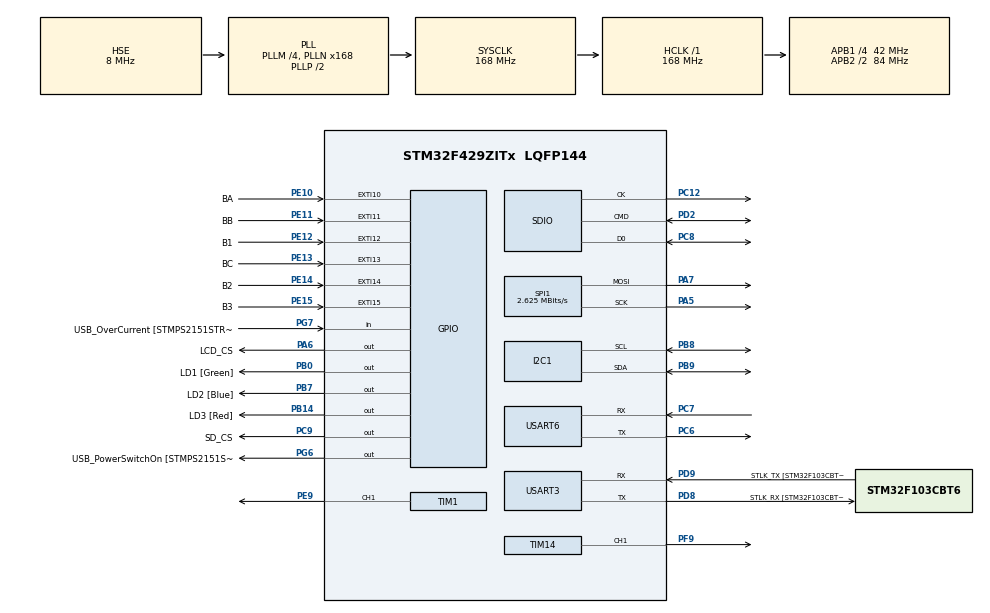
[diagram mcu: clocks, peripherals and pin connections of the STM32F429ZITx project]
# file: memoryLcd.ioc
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FATFS._MAX_SS=4096
Mcu.Family=STM32F4
Mcu.Name=STM32F429ZITx
Mcu.Package=LQFP144
NVIC.EXTI15_10_IRQn=true\:0\:0\:false\:false\:true\:true\:true\:true
NVIC.PriorityGroup=NVIC_PRIORITYGROUP_4
NVIC.TIM1_TRG_COM_TIM11_IRQn=true\:0\:0\:false\:false\:true\:true\:true\:true
NVIC.TIM1_UP_TIM10_IRQn=true\:0\:0\:false\:false\:true\:true\:true\:true
NVIC.TIM8_UP_TIM13_IRQn=true\:0\:0\:false\:false\:true\:true\:true\:true
PA13.GPIO_Label=TMS
PA13.Mode=Trace_Asynchronous_SW
PA13.Signal=SYS_JTMS-SWDIO
PA14.GPIO_Label=TCK
PA14.Mode=Trace_Asynchronous_SW
PA14.Signal=SYS_JTCK-SWCLK
PA5.Mode=TX_Only_Simplex_Unidirect_Master
PA5.Signal=SPI1_SCK
PA6.GPIO_Label=LCD_CS
PA6.Signal=GPIO_Output
PA7.Mode=TX_Only_Simplex_Unidirect_Master
PA7.Signal=SPI1_MOSI
PB0.GPIO_Label=LD1 [Green]
PB0.Signal=GPIO_Output
PB14.GPIO_Label=LD3 [Red]
PB14.Signal=GPIO_Output
PB3.Mode=Trace_Asynchronous_SW
PB3.Signal=SYS_JTDO-SWO
PB7.GPIO_Label=LD2 [Blue]
PB7.Signal=GPIO_Output
PB8.Mode=I2C
PB8.Signal=I2C1_SCL
PB9.Mode=I2C
PB9.Signal=I2C1_SDA
PC12.Mode=SD_1_bit
PC12.Signal=SDIO_CK
PC14/OSC32_IN.Mode=LSE-External-Oscillator
PC14/OSC32_IN.Signal=RCC_OSC32_IN
PC15/OSC32_OUT.Mode=LSE-External-Oscillator
PC15/OSC32_OUT.Signal=RCC_OSC32_OUT
PC6.Mode=Asynchronous
PC6.Signal=USART6_TX
PC7.Mode=Asynchronous
PC7.Signal=USART6_RX
PC8.Mode=SD_1_bit
PC8.Signal=SDIO_D0
PC9.GPIO_Label=SD_CS
PC9.Signal=GPIO_Output
PD2.Mode=SD_1_bit
PD2.Signal=SDIO_CMD
PD8.GPIO_Label=STLK_RX [STM32F103CBT6_PA3]
PD8.Mode=Asynchronous
PD8.Signal=USART3_TX
PD9.GPIO_Label=STLK_TX [STM32F103CBT6_PA2]
PD9.Mode=Asynchronous
PD9.Signal=USART3_RX
PE10.GPIO_Label=BA
PE10.GPIO_ModeDefaultEXTI=GPIO_MODE_IT_RISING_FALLING
PE10.Signal=GPXTI10
PE11.GPIO_Label=BB
PE11.GPIO_ModeDefaultEXTI=GPIO_MODE_IT_RISING_FALLING
PE11.Signal=GPXTI11
PE12.GPIO_Label=B1
PE12.GPIO_ModeDefaultEXTI=GPIO_MODE_IT_RISING_FALLING
PE12.Signal=GPXTI12
PE13.GPIO_Label=BC
PE13.GPIO_ModeDefaultEXTI=GPIO_MODE_IT_RISING_FALLING
PE13.Signal=GPXTI13
PE14.GPIO_Label=B2
PE14.GPIO_ModeDefaultEXTI=GPIO_MODE_IT_RISING_FALLING
PE14.Signal=GPXTI14
PE15.GPIO_Label=B3
PE15.GPIO_ModeDefaultEXTI=GPIO_MODE_IT_RISING_FALLING
PE15.Signal=GPXTI15
PE9.Signal=S_TIM1_CH1
PF9.Signal=S_TIM14_CH1
PG6.GPIO_Label=USB_PowerSwitchOn [STMPS2151STR_EN]
PG6.Signal=GPIO_Output
PG7.GPIO_Label=USB_OverCurrent [STMPS2151STR_FAULT]
PG7.Signal=GPIO_Input
PH0/OSC_IN.GPIO_Label=MCO [STM32F103CBT6_PA8]
PH0/OSC_IN.Mode=HSE-External-Clock-Source
PH0/OSC_IN.Signal=RCC_OSC_IN
PH1/OSC_OUT.Mode=HSE-External-Clock-Source
PH1/OSC_OUT.Signal=RCC_OSC_OUT
ProjectManager.HeapSize=0x200
ProjectManager.StackSize=0x400
ProjectManager.TargetToolchain=STM32CubeIDE
RCC.48MHZClocksFreq_Value=48000000
RCC.AHBFreq_Value=168000000
RCC.APB1CLKDivider=RCC_HCLK_DIV4
RCC.APB1Freq_Value=42000000
RCC.APB1TimFreq_Value=84000000
RCC.APB2CLKDivider=RCC_HCLK_DIV2
RCC.APB2Freq_Value=84000000
RCC.APB2TimFreq_Value=168000000
RCC.CortexFreq_Value=168000000
RCC.HCLKFreq_Value=168000000
RCC.HSE_VALUE=8000000
RCC.HSI_VALUE=16000000
RCC.PLLM=4
RCC.PLLMUL=RCC_PLL_MUL9
RCC.PLLN=168
RCC.PLLQ=7
RCC.PLLSourceVirtual=RCC_PLLSOURCE_HSE
RCC.PRESCALERUSB=RCC_USBCLKSOURCE_PLL_DIV1_5
RCC.RCC_RTC_Clock_Source=RCC_RTCCLKSOURCE_LSE
RCC.RCC_RTC_Clock_SourceVirtual=RCC_RTCCLKSOURCE_LSE
RCC.RCC_RTC_Clock_Source_FROM_HSE=RCC_RTCCLKSOURCE_HSE_DIV24
RCC.SYSCLKFreq_VALUE=168000000
RCC.SYSCLKSource=RCC_SYSCLKSOURCE_PLLCLK
RCC.SYSCLKSourceVirtual=RCC_SYSCLKSOURCE_PLLCLK
RCC.USBFreq_Value=48000000
RCC.VCOOutputFreq_Value=336000000
RTC.Date=3
RTC.Format=RTC_FORMAT_BIN
RTC.Hours=12
RTC.Minutes=34
RTC.Month=RTC_MONTH_AUGUST
RTC.Seconds=56
RTC.Year=22
SDIO.ClockDiv=4
SH.S_TIM14_CH1.0=TIM14_CH1,PWM Generation1 CH1
SH.S_TIM1_CH1.0=TIM1_CH1,PWM Generation1 CH1
SPI1.BaudRatePrescaler=SPI_BAUDRATEPRESCALER_32
SPI1.CLKPhase=SPI_PHASE_1EDGE
SPI1.CLKPolarity=SPI_POLARITY_LOW
SPI1.CalculateBaudRate=2.625 MBits/s
SPI1.Direction=SPI_DIRECTION_2LINES
SPI1.FirstBit=SPI_FIRSTBIT_MSB
SPI1.Mode=SPI_MODE_MASTER
SPI1.VirtualType=VM_MASTER
TIM1.AutoReloadPreload=TIM_AUTORELOAD_PRELOAD_ENABLE
TIM1.Channel-PWM\ Generation1\ CH1=TIM_CHANNEL_1
TIM1.ClockDivision=TIM_CLOCKDIVISION_DIV1
TIM1.OCMode_PWM-PWM\ Generation1\ CH1=TIM_OCMODE_PWM1
TIM1.Period=65534
TIM1.Prescaler=2047
TIM1.Pulse-PWM\ Generation1\ CH1=2
TIM1.RepetitionCounter=0
TIM1.TIM_MasterSlaveMode=TIM_MASTERSLAVEMODE_DISABLE
TIM10.AutoReloadPreload=TIM_AUTORELOAD_PRELOAD_ENABLE
TIM10.Period=9999
TIM10.Prescaler=16799
TIM11.AutoReloadPreload=TIM_AUTORELOAD_PRELOAD_ENABLE
TIM11.Period=99
TIM11.Prescaler=16799
TIM13.AutoReloadPreload=TIM_AUTORELOAD_PRELOAD_ENABLE
TIM13.Period=9999
TIM13.Prescaler=8399
TIM14.Channel=TIM_CHANNEL_1
TIM14.Period=99
TIM14.Prescaler=8399
USART3.VirtualMode=VM_ASYNC
USART6.VirtualMode=VM_ASYNC
VP_FATFS_VS_SDIO.Mode=SDIO
VP_RTC_VS_RTC_Activate.Mode=RTC_Enabled
VP_RTC_VS_RTC_Calendar.Mode=RTC_Calendar
VP_TIM10_VS_ClockSourceINT.Mode=Enable_Timer
VP_TIM11_VS_ClockSourceINT.Mode=Enable_Timer
VP_TIM13_VS_ClockSourceINT.Mode=Enable_Timer
VP_TIM14_VS_ClockSourceINT.Mode=Enable_Timer
VP_TIM1_VS_ClockSourceINT.Mode=Internal
board=NUCLEO-F429ZI

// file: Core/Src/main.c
/* USER CODE BEGIN Header */
/**
  ******************************************************************************
  * @file           : main.c
  * @brief          : Main program body
  ******************************************************************************
  * @attention
  *
  * Copyright (c) 2022 STMicroelectronics.
  * All rights reserved.
  *
  * This software is licensed under terms that can be found in the LICENSE file
  * in the root directory of this software component.
  * If no LICENSE file comes with this software, it is provided AS-IS.
  *
  ******************************************************************************
  */
/* USER CODE END Header */
#include "main.h"
#include "fatfs.h"
#include "i2c.h"
#include "rtc.h"
#include "sdio.h"
#include "spi.h"
#include "tim.h"
#include "usart.h"
#include "gpio.h"

/* USER CODE BEGIN Includes */
#include <stdio.h>
#include "lcd.h"
#include "bmp180.h"
#include "buttons.h"
#include "btns.h"
#include "gui.h"
#include "fonts/fonts.h"
#include "fatfs.h"
#include "File_Handling.h"
#include "countdownTimer.h"

#include "utils/timerUtils.h"

/* USER CODE END Includes */

/* USER CODE BEGIN PV */
	int GLOBAL_timezone = 1;		// [h] east+ west-
	location_t location;

	RTC_TimeTypeDef RtcTime;
	RTC_DateTypeDef RtcDate;
//	ring buffers for sensor data
//	RingBuffer_t baroRing;
	cbuf_t baroRing;
	RingBuffer_t tempRing;
	gpsDevice_t gpsDev;
//	char dmaBuffer[GPS_BUFFER_SIZE];
	uint8_t tim13_prescaler = 3; // 1Hz/(x+1) = 1Hz/4 = 4s period
	uint8_t tim13_counter = 0; // 1Hz/4 = 4s period
	// flag to execute BMP180 update in the main program loop
	uint8_t updateBmpData_flag = 1;
	countdown_t countDown1 = {5, 5, 0};
	extern uint8_t animationFrameNum;

/* USER CODE END PV */

void SystemClock_Config(void);

/* USER CODE BEGIN 0 */
int __io_putchar(int ch){
	ITM_SendChar(ch);
	return(ch);
}

uint8_t timeoutState = 0;
uint16_t timeoutValue;
uint16_t timeoutSetpoint;
void (*timeoutClbkPtr)(void);
void setTimeout(uint16_t ms,  void (*callback)(void)){
	// set timeout setpoint
	timeoutSetpoint = ms;
	// reset timeout value
	timeoutValue = 0;
	// set callback function
	timeoutClbkPtr = callback;
	// flag timeout running
	timeoutState = 1;
}

uint8_t alertFlag = 0;
void showAlert(void){
	lcdRect2(50, 350, 50, 190, 3, 0, 1);
	lcdPutStr(90, 90, "Alert!", zekton24font);
}
void hideAlert(void){
	alertFlag = 0;
}

/* USER CODE END 0 */

int main(void)
{

  /* MCU Configuration--------------------------------------------------------*/

  /* Reset of all peripherals, Initializes the Flash interface and the Systick. */
  HAL_Init();

  /* Configure the system clock */
  SystemClock_Config();

  /* Initialize all configured peripherals */
  MX_GPIO_Init();
  MX_USART3_UART_Init();
  MX_SPI1_Init();
  MX_TIM1_Init();
  MX_TIM10_Init();
  MX_I2C1_Init();
  MX_TIM11_Init();
  MX_RTC_Init();
  MX_TIM13_Init();
  MX_SDIO_SD_Init();
  MX_FATFS_Init();
  MX_USART6_UART_Init();
  MX_TIM14_Init();
  /* USER CODE BEGIN 2 */
  //  Initialize VCOMIN pulse on CH1 (PIN PE9) for Sharp Memory LCD
  HAL_TIM_Base_Init(&htim1);
  HAL_TIM_Base_Start_IT(&htim1);
  HAL_TIM_PWM_Start(&htim1, TIM_CHANNEL_1);
  // Initialize Timer 10 (1Hz) - for stopwatch
  stwInit(&htim10);
  // Vibration motor PWM
  HAL_TIM_PWM_Start(&htim14, TIM_CHANNEL_1);

  // TIMER 11 - 20Hz button scanner
  HAL_TIM_Base_Start_IT(&htim11);
  initButtons(btnsPtrs);

  // TIMER 13 - 1Hz sensors logger
  HAL_TIM_Base_Start_IT(&htim13);
  gpsDev = initGps(&huart6);
  // bmp180module defined inside of c file
  bmp_init(&bmp180module);
//  init_ring_buffer(&baroRing, 399);
  init_ring_buffer(&tempRing, 399);
  cbuf_init(&baroRing, sizeof(uint16_t), 399);

	HAL_GPIO_WritePin(SD_CS_GPIO_Port, SD_CS_Pin, GPIO_PIN_SET);
  	Mount_SD("/");
  	Create_File("FILE1.TXT");
  	Update_File("FILE1.TXT", "Hello world, SD cart write \n");
  	Create_File("FILE4.TXT");
  	char fileText[50];
  	Read_File("config.txt", &fileText);

  	// log state after reset
  	HAL_RTC_GetTime(&hrtc, &RtcTime, RTC_FORMAT_BIN);
	HAL_RTC_GetDate(&hrtc, &RtcDate, RTC_FORMAT_BIN);
	char tmpl[50] = {0};
	sprintf(&tmpl, "%02d:%02d:%02d --- Initialized ---\n", RtcTime.Hours, RtcTime.Minutes, RtcTime.Seconds);
	SD_logger(tmpl);
//  	Unmount_SD("/");
  /* USER CODE END 2 */

  /* Infinite loop */
  /* USER CODE BEGIN WHILE */
  lcdClearBuffer();
  lcdRefresh();
  while (1)
  {
	  // periodic execution driven by flag modified inside of timer interrupt
	  if(updateBmpData_flag){
		bmpData = getBmpData(&bmp180module);
		updateBmpData_flag = 0;
	  }
	  // functions executed along with the menu
		HAL_RTC_GetTime(&hrtc, &RtcTime, RTC_FORMAT_BIN);
		HAL_RTC_GetDate(&hrtc, &RtcDate, RTC_FORMAT_BIN);
		if(RtcTime.Minutes == 0 && RtcTime.Seconds==0){
			pulseVib(40, 60);
		}
	  lcdClearBuffer();
	  // functions executed through GUI
	  showGui();

	  if(alertFlag){
		  showAlert();
		btn_B2.onSinglePressHandler = &hideAlert;

	  }

	  lcdRefresh();

    /* USER CODE END WHILE */

  }
}

void SystemClock_Config(void)
{
  RCC_OscInitTypeDef RCC_OscInitStruct = {0};
  RCC_ClkInitTypeDef RCC_ClkInitStruct = {0};

  /** Configure the main internal regulator output voltage
  */
  __HAL_RCC_PWR_CLK_ENABLE();
  __HAL_PWR_VOLTAGESCALING_CONFIG(PWR_REGULATOR_VOLTAGE_SCALE1);

  /** Initializes the RCC Oscillators according to the specified parameters
  * in the RCC_OscInitTypeDef structure.
  */
  RCC_OscInitStruct.OscillatorType = RCC_OSCILLATORTYPE_HSE|RCC_OSCILLATORTYPE_LSE;
  RCC_OscInitStruct.HSEState = RCC_HSE_BYPASS;
  RCC_OscInitStruct.LSEState = RCC_LSE_ON;
  RCC_OscInitStruct.PLL.PLLState = RCC_PLL_ON;
  RCC_OscInitStruct.PLL.PLLSource = RCC_PLLSOURCE_HSE;
  RCC_OscInitStruct.PLL.PLLM = 4;
  RCC_OscInitStruct.PLL.PLLN = 168;
  RCC_OscInitStruct.PLL.PLLP = RCC_PLLP_DIV2;
  RCC_OscInitStruct.PLL.PLLQ = 7;
  if (HAL_RCC_OscConfig(&RCC_OscInitStruct) != HAL_OK)
  {
    Error_Handler();
  }

  /** Initializes the CPU, AHB and APB buses clocks
  */
  RCC_ClkInitStruct.ClockType = RCC_CLOCKTYPE_HCLK|RCC_CLOCKTYPE_SYSCLK
                              |RCC_CLOCKTYPE_PCLK1|RCC_CLOCKTYPE_PCLK2;
  RCC_ClkInitStruct.SYSCLKSource = RCC_SYSCLKSOURCE_PLLCLK;
  RCC_ClkInitStruct.AHBCLKDivider = RCC_SYSCLK_DIV1;
  RCC_ClkInitStruct.APB1CLKDivider = RCC_HCLK_DIV4;
  RCC_ClkInitStruct.APB2CLKDivider = RCC_HCLK_DIV2;

  if (HAL_RCC_ClockConfig(&RCC_ClkInitStruct, FLASH_LATENCY_5) != HAL_OK)
  {
    Error_Handler();
  }
}

/* USER CODE BEGIN 4 */

void HAL_TIM_PeriodElapsedCallback(TIM_HandleTypeDef *htim){
	// APB2 168MHz -> after PSCL 1Hz
	// used to time stopwatch
	if(htim->Instance == TIM10){
		stwTick();
		// animation frame tick
		animationFrameNum++;
	}
	// APB2 168MHz -> after PSCL 100Hz
	// button polling
	if(htim->Instance == TIM11){
		scanButtons(btnsPtrs);
		button_task();
		// check timeouts
		if(timeoutState){
			if(timeoutValue == timeoutSetpoint){
				(*timeoutClbkPtr)();
				timeoutState = 0;
			} else {
				timeoutValue++;
			}
		}
	}
	// APB1 84MHz -> after PSCL 1Hz
	if(htim->Instance == TIM13){
		// watchface module timer value incrementing
		tickTimAAB();
//		HAL_UART_Receive_DMA(&huart6, &dmaBuffer, GPS_BUFFER_SIZE);
		if(gpsDev.isReady != 0) gpsDev.getData(&gpsDev);

		HAL_GPIO_TogglePin(LD1_GPIO_Port, LD1_Pin);
		if(tempRing.isReady) add_ovw_ring_buffer(&tempRing, (int)(10*bmpData.temperature));
		uint16_t aaa = (uint16_t)(bmpData.pressure/10);
		if(baroRing.isReady) cbuf_ovw(&baroRing, &aaa);

		tim13_counter++;
		if(tim13_counter == tim13_prescaler){
			HAL_GPIO_TogglePin(LD2_GPIO_Port, LD2_Pin);
			// set flag up - causes to update temp/baro data to update in the main loop
			updateBmpData_flag = 1;
//			bmpData = getBmpData(&bmp180module);
			tim13_counter = 0;
		}
		if(isTimerRunning(&countDown1)){
			if(countDown1.remainingSec == 0){
				alertFlag = 1;
				pauseTimer(&countDown1);
			} else {
				countDown1.remainingSec--;
			}
		}
	}
}

void HAL_UART_RxCpltCallback(UART_HandleTypeDef *huart){
	if(huart->Instance == USART6){
		HAL_GPIO_TogglePin(LD2_GPIO_Port, LD2_Pin);
	}
}
/* USER CODE END 4 */

void Error_Handler(void)
{
  /* USER CODE BEGIN Error_Handler_Debug */
  /* User can add his own implementation to report the HAL error return state */
  __disable_irq();
	HAL_GPIO_WritePin(LD3_GPIO_Port, LD3_Pin, GPIO_PIN_SET);
  while (1)
  {
  }
  /* USER CODE END Error_Handler_Debug */
}
